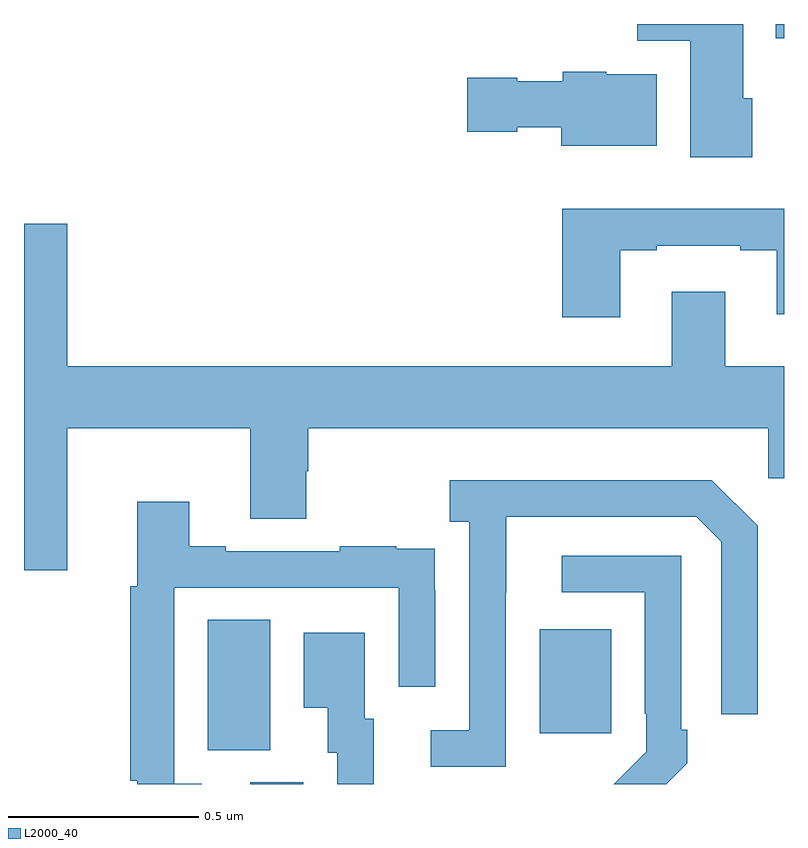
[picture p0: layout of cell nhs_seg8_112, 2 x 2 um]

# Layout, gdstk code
import gdstk
lib = gdstk.Library(unit=1e-6, precision=1e-09)
def R(c, l, rs):  # rectangles x0, y0, x1, y1
    for r in rs: c.add(gdstk.rectangle(r[:2], r[2:], *l))
def P(c, l, *ps):  # polygons
    for p in ps: c.add(gdstk.Polygon(p, *l))
L2000_40 = (2000, 40)

nhs_seg8_112 = lib.new_cell('nhs_seg8_112')
R(nhs_seg8_112, L2000_40, [(112.595,1112.9,112.735,1112.904), (112.484,1112.989,112.648,1113.332), (113.357,1113.033,113.545,1113.307), (113.978,1114.862,114,1114.9)])
P(nhs_seg8_112, L2000_40, [(113.917,1114.704),(113.893,1114.704),(113.893,1114.9),(113.614,1114.9),(113.614,1114.856),(113.753,1114.856),(113.753,1114.55),(113.917,1114.55)],
  [(113.665,1114.768),(113.532,1114.768),(113.532,1114.774),(113.418,1114.774),(113.418,1114.75),(113.298,1114.75),(113.298,1114.758),(113.166,1114.758),(113.166,1114.616),(113.298,1114.616),(113.298,1114.628),(113.414,1114.628),(113.414,1114.58),(113.665,1114.58)],
  [(113.569,1114.305),(113.665,1114.305),(113.665,1114.317),(113.885,1114.317),(113.885,1114.305),(113.981,1114.305),(113.981,1114.136),(114,1114.136),(114,1114.414),(113.417,1114.414),(113.417,1114.128),(113.569,1114.128)],
  [(112.114,1113.836),(112.595,1113.836),(112.595,1113.598),(112.743,1113.598),(112.743,1113.723),(112.748,1113.723),(112.748,1113.836),(113.958,1113.836),(113.958,1113.705),(114,1113.705),(114,1114),(113.845,1114),(113.845,1114.195),(113.705,1114.195),(113.705,1114),(112.114,1114),(112.114,1114.375),(112,1114.375),(112,1113.462),(112.114,1113.462)],
  [(113.268,1113.403),(113.269,1113.403),(113.269,1113.603),(113.769,1113.603),(113.835,1113.537),(113.835,1113.084),(113.931,1113.084),(113.931,1113.579),(113.81,1113.7),(113.121,1113.7),(113.121,1113.59),(113.172,1113.59),(113.172,1113.042),(113.07,1113.042),(113.07,1112.946),(113.268,1112.946)],
  [(112.468,1112.901),(112.395,1112.901),(112.395,1113.417),(112.986,1113.417),(112.986,1113.156),(113.082,1113.156),(113.082,1113.41),(113.081,1113.41),(113.081,1113.519),(112.979,1113.519),(112.979,1113.526),(112.831,1113.526),(112.831,1113.513),(112.531,1113.513),(112.531,1113.526),(112.435,1113.526),(112.435,1113.643),(112.298,1113.643),(112.298,1113.42),(112.279,1113.42),(112.279,1112.908),(112.298,1112.908),(112.298,1112.9),(112.468,1112.9)],
  [(113.745,1112.955),(113.745,1113.043),(113.73,1113.043),(113.73,1113.501),(113.415,1113.501),(113.415,1113.405),(113.634,1113.405),(113.634,1113.085),(113.637,1113.085),(113.637,1112.985),(113.552,1112.9),(113.69,1112.9)],
  [(112.921,1113.072),(112.897,1113.072),(112.897,1113.298),(112.736,1113.298),(112.736,1113.101),(112.799,1113.101),(112.799,1112.982),(112.824,1112.982),(112.824,1112.9),(112.921,1112.9)])

lib.write_gds('nhs_seg8_112.gds')
